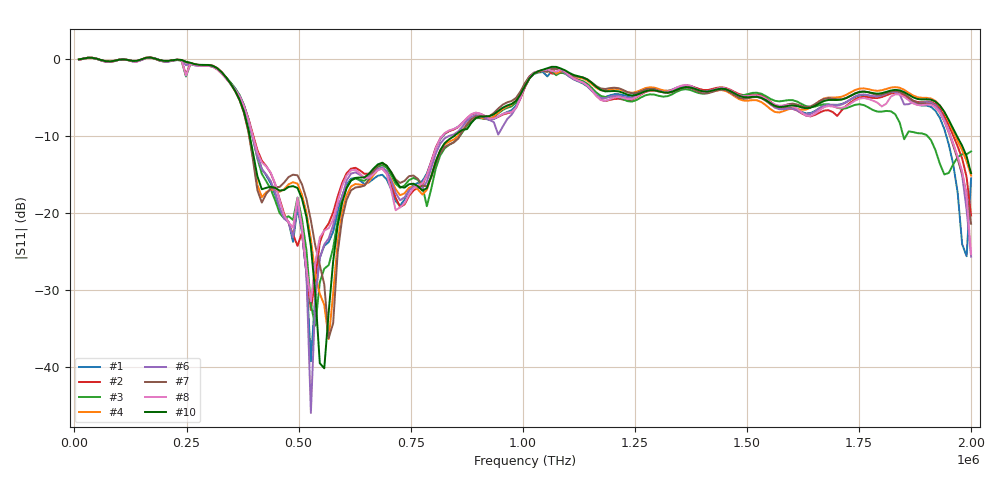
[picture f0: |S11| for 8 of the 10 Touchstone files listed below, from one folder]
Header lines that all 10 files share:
!Created with skrf (http://scikit-rf.org).
# GHz S RI R 50.0
!freq ReS11 ImS11
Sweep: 1e+04 THz to 2e+06 THz
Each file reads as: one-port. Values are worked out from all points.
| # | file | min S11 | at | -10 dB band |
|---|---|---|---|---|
| 1 | ANT1342H_P1.s1p | -39.3 dB | 5.274e+05 THz | 4.255e+05 THz wide |
| 2 | ANT1343H_P1.s1p | -32.7 dB | 5.274e+05 THz | 4.226e+05 THz wide |
| 3 | ANT1344H_P1.s1p | -34.7 dB | 5.374e+05 THz | 4.634e+05 THz wide |
| 4 | ANT1344H_P2.s1p | -36.4 dB | 5.672e+05 THz | 4.666e+05 THz wide |
| 5 | ANT1346H_P2.s1p | -29.1 dB | 5.274e+05 THz | 4.223e+05 THz wide |
| 6 | ANT1347H_P1.s1p | -46.0 dB | 5.274e+05 THz | 4.411e+05 THz wide |
| 7 | ANT1347H_P2.s1p | -36.3 dB | 5.672e+05 THz | 4.702e+05 THz wide |
| 8 | ANT1349H_P1.s1p | -31.5 dB | 5.274e+05 THz | 4.235e+05 THz wide |
| 9 | ANT1349H_P2.s1p | -39.9 dB | 5.572e+05 THz | 4.638e+05 THz wide |
| 10 | ANT1351H_P2.s1p | -40.2 dB | 5.572e+05 THz | 4.571e+05 THz wide |
